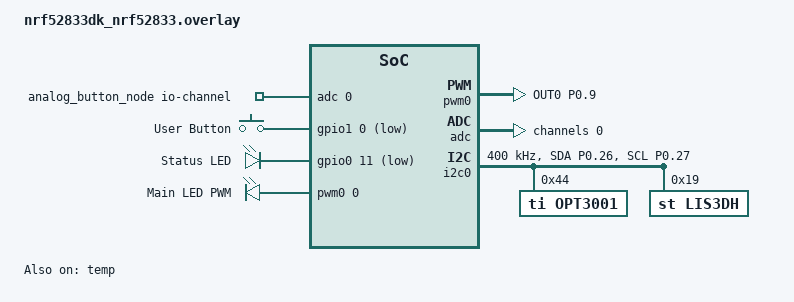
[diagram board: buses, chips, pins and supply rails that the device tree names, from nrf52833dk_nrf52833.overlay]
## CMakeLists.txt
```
cmake_minimum_required(VERSION 3.20.0)
find_package(Zephyr REQUIRED HINTS $ENV{ZEPHYR_BASE})

project(nrf_connect_prj)

# Option to enable debug features (I2C scanner and debug prints)
option(DEBUG "Enable debug features (I2C scanner and debug prints)" ON)

# Option to enable Bluetooth
option(BLUETOOTH "Enable Bluetooth" OFF)
# Option to enable BLE master mode
option(BLE_MASTER "Enable BLE master mode" OFF)

target_sources(app PRIVATE 
    src/main.c
    src/sensor_data_collector.c
    src/button.c
    src/light_modes.c
    src/main_state_machine.c
    src/power_management.c
    src/bluetooth.c
)

# Conditionally enable debug features
if(DEBUG)
    target_sources(app PRIVATE 
        src/i2c_scanner.c
    )
    target_compile_definitions(app PRIVATE 
        DEBUG=1
    )
endif()

# Conditionally enable BLE master mode
if(BLE_MASTER)
    target_compile_definitions(app PRIVATE 
        BLE_MASTER=1
    )
endif()

target_include_directories(app PRIVATE
    inc/
)

target_link_libraries(app PRIVATE
    -lm
)

target_compile_options(app PRIVATE
    -Wall
    -Wextra
    -Werror
)
```

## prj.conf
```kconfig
# Enable device power management and system poweroff
CONFIG_PM_DEVICE=y
CONFIG_POWEROFF=y

# Enable logging
CONFIG_LOG=y
CONFIG_LOG_DEFAULT_LEVEL=3

# Enalble POSIX API for read-write locks
CONFIG_POSIX_API=y

# Enable console and RTT output
CONFIG_CONSOLE=y
CONFIG_RTT_CONSOLE=y
CONFIG_USE_SEGGER_RTT=y

# Enable GPIO
CONFIG_GPIO=y

# Enable ADC
CONFIG_ADC=y
CONFIG_ADC_NRFX_SAADC=y

# Enable PWM
CONFIG_PWM=y

# Enable work queue for button processing
CONFIG_SYSTEM_WORKQUEUE_STACK_SIZE=2048

# Enable I2C
CONFIG_I2C=y

# Enable sensors drivers
CONFIG_SENSOR=y
CONFIG_TEMP_NRF5=y
CONFIG_OPT3001=y

# Enable clock control (required for temperature sensor)
CONFIG_CLOCK_CONTROL=y
CONFIG_CLOCK_CONTROL_NRF=y
CONFIG_CLOCK_CONTROL_NRF_K32SRC_RC=y

# Enable Bluetooth Low Energy
# CONFIG_BT=y
# CONFIG_BT_PERIPHERAL=y
# CONFIG_BT_CENTRAL=y
# CONFIG_BT_GATT_CLIENT=y
# CONFIG_BT_MAX_CONN=1
# CONFIG_BT_MAX_PAIRED=1

# Enable BLE scanning (for master mode)
# CONFIG_BT_SCAN=y
# CONFIG_BT_SCAN_FILTER_ENABLE=y
# CONFIG_BT_SCAN_UUID_CNT=1
```

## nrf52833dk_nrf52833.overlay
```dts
// To get started, press Ctrl+Space to bring up the completion menu and view the available nodes.

// You can also use the buttons in the sidebar to perform actions on nodes.
// Actions currently available include:

// * Enabling / disabling the node
// * Adding the bus to a bus
// * Removing the node
// * Connecting ADC channels

// For more help, browse the DeviceTree documentation at https://docs.zephyrproject.org/latest/guides/dts/index.html
// You can also visit the nRF DeviceTree extension documentation at https://docs.nordicsemi.com/bundle/nrf-connect-vscode/page/guides/ncs_configure_app.html#devicetree-support-in-the-extension

&uicr {
	nfct-pins-as-gpios;
};

/* Disable base board LEDs since we're using custom hardware */
&led0 {
	status = "disabled";
};

&led1 {
	status = "disabled";
};

&led2 {
	status = "disabled";
};

&led3 {
	status = "disabled";
};

/ {
	aliases {
		led0 = &led0_child;
		main-led0 = &main_led0;
		analog-button = &analog_button_node;
		sw0 = &button0;
	};

	analog_button_node: zephyr,user {
		io-channels = <&adc 0>;
	};

	/*
	// Fake button after solder jumper fix for SIO_38 (P1.06)
	//BUTTON on SIO_38 (P1.06) - Active low with pullup 
	buttons {
		compatible = "gpio-keys";
		button0: button_0 {
			gpios = <&gpio1 6 GPIO_ACTIVE_LOW>;
			label = "User Button";
		};
	};
	*/


	// BUTTON on SIO_32 (P1.00) - Active low with pullup 
	buttons {
		compatible = "gpio-keys";
		button0: button_0 {
			gpios = <&gpio1 0 GPIO_ACTIVE_LOW>;
			label = "User Button";
		};
	};
 	
	
	/* STATUS_LED on P0.11 (pin 11) - Active low */
	led0_node: led0 {
		compatible = "gpio-leds";
		led0_child: led_0 {
			gpios = <&gpio0 11 GPIO_ACTIVE_LOW>;
			label = "Status LED";
		};
	};

	/* MAIN_LED on P0.09 (pin 9) - PWM controlled */
	pwmleds {
		compatible = "pwm-leds";
		main_led0: main_led_0 {
			pwms = <&pwm0 0 PWM_USEC(1000) PWM_POLARITY_NORMAL>;
			label = "Main LED PWM";
		};
	};
};
&clock {
	status = "okay";
};

/* Configure PWM0 for Main LED on P0.09 */
&pwm0 {
	status = "okay";
	pinctrl-0 = <&pwm0_default>;
	pinctrl-1 = <&pwm0_sleep>;
	pinctrl-names = "default", "sleep";
};

&pinctrl {
	pwm0_default: pwm0_default {
		group1 {
			psels = <NRF_PSEL(PWM_OUT0, 0, 9)>;
			nordic,invert;
		};
	};

	pwm0_sleep: pwm0_sleep {
		group1 {
			psels = <NRF_PSEL(PWM_OUT0, 0, 9)>;
			low-power-enable;
		};
	};

	i2c0_default: i2c0_default {
		group1 {
			psels = <NRF_PSEL(TWIM_SDA, 0, 26)>,
				<NRF_PSEL(TWIM_SCL, 0, 27)>;
		};
	};

	i2c0_sleep: i2c0_sleep {
		group1 {
			psels = <NRF_PSEL(TWIM_SDA, 0, 26)>,
				<NRF_PSEL(TWIM_SCL, 0, 27)>;
			low-power-enable;
		};
	};
};

// Configure internal temperature sensor
&temp {
	status = "okay";
};

// Configure ADC for analog button on SIO_29 (P0.29/AIN5)
&adc {
	#address-cells = <1>;
	#size-cells = <0>;
	status = "okay";
	channel@0 {
		reg = <0>;
		zephyr,gain = "ADC_GAIN_1_6";
		zephyr,reference = "ADC_REF_INTERNAL";
		zephyr,acquisition-time = <ADC_ACQ_TIME_DEFAULT>;
		zephyr,input-positive = <NRF_SAADC_AIN5>; /* P0.29/AIN5 for SIO_29 */
		zephyr,resolution = <12>;
	};
};

// Configure I2C0 for sensors (SDA: P0.26, SCL: P0.27)
&i2c0 {
	status = "okay";
	pinctrl-0 = <&i2c0_default>;
	pinctrl-1 = <&i2c0_sleep>;
	pinctrl-names = "default", "sleep";
	clock-frequency = <400000>;

	opt3001: opt3001@44 {
		compatible = "ti,opt3001";
		reg = <0x44>;
		label = "OPT3001";
	};

	lis3dh: lis3dh@19 {
		compatible = "st,lis3dh", "st,lis2dh";
		reg = <0x19>;
		label = "LIS3DH";
		status = "okay";
		/* Note: LIS3DH uses LIS2DH driver, SA0 pin connected to VDD gives address 0x19 */
	};
};
```

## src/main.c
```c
/*
 * Copyright (c) 2025 Matthias Dippold
 *
 * This program is free software: you can redistribute it and/or modify
 * it under the terms of the GNU General Public License as published by
 * the Free Software Foundation, either version 3 of the License, or
 * (at your option) any later version.
 *
 * This program is distributed in the hope that it will be useful,
 * but WITHOUT ANY WARRANTY; without even the implied warranty of
 * MERCHANTABILITY or FITNESS FOR A PARTICULAR PURPOSE.  See the
 * GNU General Public License for more details.
 *
 * You should have received a copy of the GNU General Public License
 * along with this program.  If not, see <https://www.gnu.org/licenses/>.
 *
 * NON-COMMERCIAL USE CLAUSE:
 * Permission is granted to use, copy, modify, and distribute this software
 * and its derivatives for NON-COMMERCIAL purposes only. Commercial use of
 * this software, in whole or in part, is strictly prohibited without
 * explicit written permission from the copyright holder.
 */

#include <zephyr/kernel.h>
#include <zephyr/drivers/gpio.h>
#include <zephyr/devicetree.h>
#include <zephyr/pm/device.h>
#include <zephyr/sys/poweroff.h>

#include "utils.h"
#include "button.h"
#include "main_state_machine.h"
#include "sensor_data_collector.h"
#include "power_management.h"
#ifdef BLUETOOTH
#include "bluetooth.h"
#endif /* BLUETOOTH */
#ifdef DEBUG
#include "i2c_scanner.h"
#endif

/* Global sensor buffer and environmental state */
sensor_buffer_t g_sensor_buffer;
environmental_state_t g_env_state;

static void button_event_handler(enum button_press_type press_type)
{
    ARG_UNUSED(press_type);
    
    /* Advance state machine on button press */
    main_state_machine_on_button_press();
    enum system_state new_state = main_state_machine_get_state();

#ifdef BLUETOOTH
#ifdef BLE_MASTER
    /* In master mode, also send button press to slave */
    bluetooth_master_send_button_press();
#endif /* BLE_MASTER */
#endif /* BLUETOOTH */

    /* If we transitioned to LED_OFF, enter sleep mode */
    if (new_state == LED_OFF) {
        debug_printk("Transitioning to LED_OFF - entering sleep mode\n");
        /* Give a short delay for user feedback (status LED off) */
        k_msleep(100);
        power_management_enter_sleep();
    }
}

int main(void)
{
    int ret;
    
    debug_printk("System starting...\n");
    
    /* Initialize global sensor buffer */
    pthread_rwlock_init(&g_sensor_buffer.lock, NULL);
    g_sensor_buffer.write_index = 0;
    
    /* Initialize environmental state to safe defaults */
    g_env_state.is_braking = false;
    g_env_state.ambient_dark = false;
    g_env_state.previous_brightness = 0;
    
    /* Initialize main state machine (LED control) */
    ret = main_state_machine_init();
    if (ret != 0) {
        /* State machine initialization failed */
        return -1;
    }
    
#ifdef BLUETOOTH
    /* Initialize Bluetooth Low Energy */
    ret = bluetooth_init();
    if (ret != 0) {
        debug_printk("BLE Init failed: %d\n", ret);
        /* Continue anyway - BLE is optional */
    } else {
        debug_printk("BLE initialized successfully\n");
    }
#endif /* BLUETOOTH */
    
    /* Initialize button GPIO (but don't enable interrupts yet) */
    int err = -1;
    err = button_init(button_event_handler);
	if (err) {
		debug_printk("Button Init failed: %d\n", err);
		return err;
	}
	debug_printk("Button GPIO configured (interrupts not yet enabled)...\n");
    
#ifdef DEBUG
    /* Scan I2C bus for debugging */
    const struct device *const i2c_dev = DEVICE_DT_GET(DT_NODELABEL(i2c0));
    if (i2c_dev != NULL && device_is_ready(i2c_dev)) {
        debug_printk("Scanning I2C bus during initialization...\n");
        scan_i2c_bus(i2c_dev);
    } else {
        debug_printk("I2C bus not available for scanning\n");
    }
#endif
    
    /* Enable button interrupts AFTER slow initialization tasks
     * This prevents spurious button events during I2C scanning and other init */
    err = button_enable_interrupts();
    if (err) {
        debug_printk("Button interrupt enable failed: %d\n", err);
        return err;
    }
    debug_printk("Button interrupts enabled. Ready for events...\n");
    
    /* Main loop (only reached if NOT in LED_OFF state) */
    while (1) {
        /* Sleep to save power - timers and interrupts will wake the CPU */
        k_msleep(1000);
    }

    return 0;
}
```

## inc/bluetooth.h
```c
/*
 * Copyright (c) 2025 Matthias Dippold
 *
 * This program is free software: you can redistribute it and/or modify
 * it under the terms of the GNU General Public License as published by
 * the Free Software Foundation, either version 3 of the License, or
 * (at your option) any later version.
 *
 * This program is distributed in the hope that it will be useful,
 * but WITHOUT ANY WARRANTY; without even the implied warranty of
 * MERCHANTABILITY or FITNESS FOR A PARTICULAR PURPOSE.  See the
 * GNU General Public License for more details.
 *
 * You should have received a copy of the GNU General Public License
 * along with this program.  If not, see <https://www.gnu.org/licenses/>.
 *
 * NON-COMMERCIAL USE CLAUSE:
 * Permission is granted to use, copy, modify, and distribute this software
 * and its derivatives for NON-COMMERCIAL purposes only. Commercial use of
 * this software, in whole or in part, is strictly prohibited without
 * explicit written permission from the copyright holder.
 */

#ifndef BLUETOOTH_H
#define BLUETOOTH_H

/* Custom 128-bit UUID for Button Service */
#define BT_UUID_BUTTON_SERVICE_VAL \
    BT_UUID_128_ENCODE(0x12345678, 0x1234, 0x5678, 0x1234, 0x56789abcdef0)

/**
 * @brief Initialize Bluetooth Low Energy stack
 * 
 * Initializes BLE in either master (central) or slave (peripheral) mode
 * based on BLE_MASTER preprocessor definition.
 * 
 * @return 0 on success, negative error code on failure
 */
int bluetooth_init(void);

#ifdef BLE_MASTER
/**
 * @brief Send button press to slave device (Master mode only)
 * 
 * Sends a button press command to the connected slave.
 * 
 * @return 0 on success, negative error code on failure
 */
int bluetooth_master_send_button_press(void);
#endif /* BLE_MASTER */

#endif /* BLUETOOTH_H */
```

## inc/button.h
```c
/*
 * Copyright (c) 2025 Matthias Dippold
 *
 * This program is free software: you can redistribute it and/or modify
 * it under the terms of the GNU General Public License as published by
 * the Free Software Foundation, either version 3 of the License, or
 * (at your option) any later version.
 *
 * This program is distributed in the hope that it will be useful,
 * but WITHOUT ANY WARRANTY; without even the implied warranty of
 * MERCHANTABILITY or FITNESS FOR A PARTICULAR PURPOSE.  See the
 * GNU General Public License for more details.
 *
 * You should have received a copy of the GNU General Public License
 * along with this program.  If not, see <https://www.gnu.org/licenses/>.
 *
 * NON-COMMERCIAL USE CLAUSE:
 * Permission is granted to use, copy, modify, and distribute this software
 * and its derivatives for NON-COMMERCIAL purposes only. Commercial use of
 * this software, in whole or in part, is strictly prohibited without
 * explicit written permission from the copyright holder.
 */

 #ifndef _BUTTON_H_
 #define _BUTTON_H_
 
 typedef void (*button_event_handler_t)(void);
 
 int button_init(button_event_handler_t handler);
 int button_enable_interrupts(void);
 int button_configure_wakeup(void);
 
 #endif /* _BUTTON_H_ */
```

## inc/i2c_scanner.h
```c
#ifndef I2C_SCANNER_H
#define I2C_SCANNER_H

#include <zephyr/device.h>

/**
 * @brief Scan I2C bus for devices
 * 
 * Scans the I2C bus and reports all found devices.
 * Also specifically checks for known devices (OPT3001, LIS3DH).
 * 
 * @param i2c_dev I2C device pointer (e.g., from DT_NODELABEL(i2c0))
 */
void scan_i2c_bus(const struct device *i2c_dev);

#endif /* I2C_SCANNER_H */
```

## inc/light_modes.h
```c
/*
 * Copyright (c) 2025 Matthias Dippold
 *
 * This program is free software: you can redistribute it and/or modify
 * it under the terms of the GNU General Public License as published by
 * the Free Software Foundation, either version 3 of the License, or
 * (at your option) any later version.
 *
 * This program is distributed in the hope that it will be useful,
 * but WITHOUT ANY WARRANTY; without even the implied warranty of
 * MERCHANTABILITY or FITNESS FOR A PARTICULAR PURPOSE.  See the
 * GNU General Public License for more details.
 *
 * You should have received a copy of the GNU General Public License
 * along with this program.  If not, see <https://www.gnu.org/licenses/>.
 *
 * NON-COMMERCIAL USE CLAUSE:
 * Permission is granted to use, copy, modify, and distribute this software
 * and its derivatives for NON-COMMERCIAL purposes only. Commercial use of
 * this software, in whole or in part, is strictly prohibited without
 * explicit written permission from the copyright holder.
 */

#ifndef LIGHT_MODES_H
#define LIGHT_MODES_H

#include <stdint.h>
#include <stdbool.h>
#include <zephyr/kernel.h>

/**
 * @brief LED state machine states
 */
enum system_state {
    LED_OFF = 0,     /* 0% duty cycle */
    LED_50_PERCENT,  /* 50% duty cycle */
    LED_50_80_FLASH, /* High visibility mode: 50% with periodic 80% flashes */
    LED_SMART_MODE   /* Smart mode: adaptive brightness based on braking and ambient light */
};

/** @brief Timer expiry callback for the flash timer */
void flash_timer_expiry(struct k_timer *timer);

/** @brief Timer expiry callback for the blink timer */
void blink_timer_expiry(struct k_timer *timer);

/** @brief Timer expiry callback for the status LED timer */
void status_led_timer_expiry(struct k_timer *timer);

/**
 * @brief Initialize PWM LED hardware
 * 
 * Configures PWM device and sets LED to off state.
 * 
 * @return 0 on success, negative error code on failure
 */
int flash_timers_init(void);

/**
 * @brief Initialize Status LED GPIO
 * 
 * Initializes and starts the timer for the STATUS LED.
 * 
 * @return 0 on success, negative error code on failure
 */
int status_led_init(void);

/**
 * @brief Stop any active blinking mode
 * Sets LED brightness to 0% (off).
 */
void light_modes_stop_blinking(void);

/**
 * @brief Set LED brightness to 50%
 * Stops any active blinking mode.
 */
void light_modes_set_50_percent(void);

/**
 * @brief Set LED to high visibility blinking mode
 * 
 * LED runs at 50% duty cycle normally, and flashes to 80% for 100ms every second.
 */
void light_modes_set_100_percent(void);

/**
 * @brief Initialize SMART_MODE
 * 
 * Sets LED to initial state for SMART_MODE operation.
 * Actual brightness is controlled by environmental conditions.
 */
void light_modes_set_smart_mode(void);

/**
 * @brief Update PWM in SMART_MODE based on environmental state
 * 
 * Should be called when environmental conditions change (braking, ambient light).
 * Reads global environmental state and adjusts PWM accordingly.
 */
void light_modes_update_smart_pwm(void);

/**
 * @brief Get current PWM pulse width
 * 
 * @return Current PWM pulse width in microseconds
 */
uint32_t light_modes_get_current_pwm(void);

/**
 * @brief Start the status LED timer
 * 
 * Starts the periodic timer that blinks the status LED.
 */
void light_modes_start_status_led(void);

/**
 * @brief Stop the status LED timer
 * 
 * Stops the status LED timer and turns off the LED.
 */
void light_modes_stop_status_led(void);

#endif /* LIGHT_MODES_H */
```

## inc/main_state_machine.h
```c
/*
 * Copyright (c) 2025 Matthias Dippold
 *
 * This program is free software: you can redistribute it and/or modify
 * it under the terms of the GNU General Public License as published by
 * the Free Software Foundation, either version 3 of the License, or
 * (at your option) any later version.
 *
 * This program is distributed in the hope that it will be useful,
 * but WITHOUT ANY WARRANTY; without even the implied warranty of
 * MERCHANTABILITY or FITNESS FOR A PARTICULAR PURPOSE.  See the
 * GNU General Public License for more details.
 *
 * You should have received a copy of the GNU General Public License
 * along with this program.  If not, see <https://www.gnu.org/licenses/>.
 *
 * NON-COMMERCIAL USE CLAUSE:
 * Permission is granted to use, copy, modify, and distribute this software
 * and its derivatives for NON-COMMERCIAL purposes only. Commercial use of
 * this software, in whole or in part, is strictly prohibited without
 * explicit written permission from the copyright holder.
 */

#ifndef MAIN_STATE_MACHINE_H
#define MAIN_STATE_MACHINE_H

#include "light_modes.h"

/**
 * @brief Initialize the main state machine
 * 
 * Sets up the state machine and connects button and LED control.
 * 
 * @return 0 on success, negative error code on failure
 */
int main_state_machine_init(void);

/**
 * @brief Handle button press event
 * 
 * Called by button module when a button press is detected.
 * This function cycles through LED brightness states.
 */
void main_state_machine_on_button_press(void);

/**
 * @brief Automatically turn off LED
 * 
 * Called by stationary monitor when device has been stationary for too long.
 * Only acts if current state is SMART_MODE.
 * 
 */
void main_state_machine_auto_off(void);

/**
 * @brief Get current LED state
 * 
 * @return Current LED brightness state
 */
enum system_state main_state_machine_get_state(void);

/**
 * @brief Set LED state directly (for external control, e.g., BLE)
 * 
 * Allows external modules to directly set the LED state.
 * This bypasses the normal button press cycle.
 * 
 * @param new_state The state to transition to
 * @return 0 on success, negative error code on failure
 */
int main_state_machine_set_state(enum system_state new_state);

/* Global LED state */
extern enum system_state g_system_state;

#endif /* MAIN_STATE_MACHINE_H */
```

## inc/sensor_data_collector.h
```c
/*
 * Copyright (c) 2025 Matthias Dippold
 *
 * This program is free software: you can redistribute it and/or modify
 * it under the terms of the GNU General Public License as published by
 * the Free Software Foundation, either version 3 of the License, or
 * (at your option) any later version.
 *
 * This program is distributed in the hope that it will be useful,
 * but WITHOUT ANY WARRANTY; without even the implied warranty of
 * MERCHANTABILITY or FITNESS FOR A PARTICULAR PURPOSE.  See the
 * GNU General Public License for more details.
 *
 * You should have received a copy of the GNU General Public License
 * along with this program.  If not, see <https://www.gnu.org/licenses/>.
 *
 * NON-COMMERCIAL USE CLAUSE:
 * Permission is granted to use, copy, modify, and distribute this software
 * and its derivatives for NON-COMMERCIAL purposes only. Commercial use of
 * this software, in whole or in part, is strictly prohibited without
 * explicit written permission from the copyright holder.
 */

#ifndef SENSOR_DATA_COLLECTOR_H
#define SENSOR_DATA_COLLECTOR_H

#include <zephyr/kernel.h>
#include <zephyr/drivers/sensor.h>
#include <stdbool.h>
#include <pthread.h>

/* Sensor buffer size: 360 samples = 3 minutes at 500ms sampling rate */
#define SENSOR_BUFFER_SIZE 360

typedef struct {
    struct sensor_value temp; // internal nRF52833 temperature
    struct sensor_value light; // OPT3001 ambient light intensity
    struct sensor_value accel_x; // LIS3DH accelerometer X-axis
    struct sensor_value accel_y; // LIS3DH accelerometer Y-axis
    struct sensor_value accel_z; // LIS3DH accelerometer Z-axis
} sensor_readings_t;

/**
 * @brief Circular buffer for sensor history
 * 
 * Stores 360 samples (3 minutes at 500ms intervals) of all sensor data.
 * Protected by rwlock for thread-safe access.
 */
typedef struct {
    struct sensor_value temp[SENSOR_BUFFER_SIZE];
    struct sensor_value light[SENSOR_BUFFER_SIZE];
    struct sensor_value accel_x[SENSOR_BUFFER_SIZE];
    struct sensor_value accel_y[SENSOR_BUFFER_SIZE];
    struct sensor_value accel_z[SENSOR_BUFFER_SIZE];
    uint16_t write_index;  // Current write position in circular buffer
    pthread_rwlock_t lock;  // POSIX read-write lock for thread safety
} sensor_buffer_t;

/**
 * @brief Environmental state for SMART_MODE
 * 
 * Tracks current environmental conditions that affect LED behavior.
 */
typedef struct {
    bool is_braking;  // True when braking detected (z-accel < -2.0 m/s²)
    bool ambient_dark;  // True when ambient light < 30 lux
    uint32_t previous_brightness;  // Previous PWM pulse width in microseconds
} environmental_state_t;

/* Global sensor buffer and environmental state */
extern sensor_buffer_t g_sensor_buffer;
extern environmental_state_t g_env_state;

/* Thread control functions */
void sensor_threads_start(void);
void sensor_threads_stop(void);

#endif /* SENSOR_DATA_COLLECTOR_H */
```

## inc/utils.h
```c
/*
 * Copyright (c) 2025 Matthias Dippold
 *
 * This program is free software: you can redistribute it and/or modify
 * it under the terms of the GNU General Public License as published by
 * the Free Software Foundation, either version 3 of the License, or
 * (at your option) any later version.
 *
 * This program is distributed in the hope that it will be useful,
 * but WITHOUT ANY WARRANTY; without even the implied warranty of
 * MERCHANTABILITY or FITNESS FOR A PARTICULAR PURPOSE.  See the
 * GNU General Public License for more details.
 *
 * You should have received a copy of the GNU General Public License
 * along with this program.  If not, see <https://www.gnu.org/licenses/>.
 *
 * NON-COMMERCIAL USE CLAUSE:
 * Permission is granted to use, copy, modify, and distribute this software
 * and its derivatives for NON-COMMERCIAL purposes only. Commercial use of
 * this software, in whole or in part, is strictly prohibited without
 * explicit written permission from the copyright holder.
 */

#ifndef UTILS_H
#define UTILS_H

#include <zephyr/kernel.h>

#ifdef DEBUG
#define debug_printk(...) printk(__VA_ARGS__)
#else
#define debug_printk(...) ((void)0)
#endif

#endif /* UTILS_H */
```

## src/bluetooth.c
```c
/*
 * Copyright (c) 2025 Matthias Dippold
 *
 * This program is free software: you can redistribute it and/or modify
 * it under the terms of the GNU General Public License as published by
 * the Free Software Foundation, either version 3 of the License, or
 * (at your option) any later version.
 *
 * This program is distributed in the hope that it will be useful,
 * but WITHOUT ANY WARRANTY; without even the implied warranty of
 * MERCHANTABILITY or FITNESS FOR A PARTICULAR PURPOSE.  See the
 * GNU General Public License for more details.
 *
 * You should have received a copy of the GNU General Public License
 * along with this program.  If not, see <https://www.gnu.org/licenses/>.
 *
 * NON-COMMERCIAL USE CLAUSE:
 * Permission is granted to use, copy, modify, and distribute this software
 * and its derivatives for NON-COMMERCIAL purposes only. Commercial use of
 * this software, in whole or in part, is strictly prohibited without
 * explicit written permission from the copyright holder.
 */

#include <zephyr/kernel.h>
#include <zephyr/bluetooth/bluetooth.h>
#include <zephyr/bluetooth/gatt.h>
#include <zephyr/bluetooth/conn.h>
#include <zephyr/bluetooth/uuid.h>
#include <zephyr/sys/util.h>
#include <string.h>

#include "bluetooth.h"
#include "main_state_machine.h"
#include "utils.h"

#ifndef BLE_MASTER
/* ========== SLAVE MODE IMPLEMENTATION ========== */

/* UUID definitions for slave mode */
static struct bt_uuid_128 button_service_uuid = BT_UUID_INIT_128(BT_UUID_BUTTON_SERVICE_VAL);
static struct bt_uuid_128 button_press_uuid = BT_UUID_INIT_128(
    BT_UUID_128_ENCODE(0x12345678, 0x1234, 0x5678, 0x1234, 0x56789abcdef1));

/* Button press characteristic value */
static uint8_t button_press_value = 0;

/**
 * @brief Write callback for button press characteristic
 */
static ssize_t write_button_press(struct bt_conn *conn, const struct bt_gatt_attr *attr,
                                   const void *buf, uint16_t len, uint16_t offset, uint8_t flags)
{
    ARG_UNUSED(conn);
    ARG_UNUSED(attr);
    ARG_UNUSED(flags);
    
    if (offset + len > sizeof(button_press_value)) {
        return BT_GATT_ERR(BT_ATT_ERR_INVALID_OFFSET);
    }
    
    if (len != sizeof(button_press_value)) {
        return BT_GATT_ERR(BT_ATT_ERR_INVALID_ATTRIBUTE_LEN);
    }
    
    uint8_t value = *((const uint8_t *)buf);
    
    if (value == 1) {
        /* Trigger button press - advance state machine */
        debug_printk("BLE: Button press received from master\n");
        main_state_machine_on_button_press();
    }
    
    button_press_value = value;
    
    return len;
}

/* GATT Service Definition */
BT_GATT_SERVICE_DEFINE(button_svc,
    BT_GATT_PRIMARY_SERVICE(&button_service_uuid),
    BT_GATT_CHARACTERISTIC(&button_press_uuid.uuid,
                           BT_GATT_CHRC_WRITE,
                           BT_GATT_PERM_WRITE,
                           NULL, write_button_press, &button_press_value),
);

/**
 * @brief Connection callback
 */
static void connected(struct bt_conn *conn, uint8_t err)
{
    char addr[BT_ADDR_LE_STR_LEN];
    
    bt_addr_le_to_str(bt_conn_get_dst(conn), addr, sizeof(addr));
    
    if (err) {
        debug_printk("BLE: Connection failed (err %u)\n", err);
    } else {
        debug_printk("BLE: Connected: %s\n", addr);
    }
}

/**
 * @brief Disconnection callback
 */
static void disconnected(struct bt_conn *conn, uint8_t reason)
{
    char addr[BT_ADDR_LE_STR_LEN];
    
    bt_addr_le_to_str(bt_conn_get_dst(conn), addr, sizeof(addr));
    debug_printk("BLE: Disconnected: %s (reason %u)\n", addr, reason);
}

BT_CONN_CB_DEFINE(conn_callbacks) = {
    .connected = connected,
    .disconnected = disconnected,
};

/* Advertising data with service UUID */
static const struct bt_data ad[] = {
    BT_DATA_BYTES(BT_DATA_FLAGS, (BT_LE_AD_GENERAL | BT_LE_AD_NO_BREDR)),
    BT_DATA_BYTES(BT_DATA_UUID128_ALL, BT_UUID_BUTTON_SERVICE_VAL),
};

/**
 * @brief Initialize BLE in slave mode
 */
int bluetooth_init(void)
{
    int err;
    
    err = bt_enable(NULL);
    if (err) {
        debug_printk("BLE: Enable failed (err %d)\n", err);
        return err;
    }
    
    debug_printk("BLE: Bluetooth initialized (slave mode)\n");
    
    /* Start advertising */
    err = bt_le_adv_start(
        BT_LE_ADV_PARAM(BT_LE_ADV_OPT_CONN,
                        BT_GAP_ADV_FAST_INT_MIN_2,
                        BT_GAP_ADV_FAST_INT_MAX_2,
                        NULL),
        ad, ARRAY_SIZE(ad), NULL, 0);
    
    if (err) {
        debug_printk("BLE: Advertising failed to start (err %d)\n", err);
        return err;
    }
    
    debug_printk("BLE: Advertising started\n");
    
    return 0;
}

#else
/* ========== MASTER MODE IMPLEMENTATION ========== */

#include <bluetooth/scan.h>

/* UUID definitions for master mode */
static struct bt_uuid_128 button_press_uuid = BT_UUID_INIT_128(
    BT_UUID_128_ENCODE(0x12345678, 0x1234, 0x5678, 0x1234, 0x56789abcdef1));

/* Connection state */
static struct bt_conn *active_conn = NULL;
static volatile bool connection_established = false;
static uint16_t button_press_handle = 0;
static bool handle_discovered = false;

/**
 * @brief Connection callback
 */
static void connected(struct bt_conn *conn, uint8_t err)
{
    char addr[BT_ADDR_LE_STR_LEN];
    
    bt_addr_le_to_str(bt_conn_get_dst(conn), addr, sizeof(addr));
    
    if (err) {
        debug_printk("BLE Master: Connection failed to %s (err %u)\n", addr, err);
        connection_established = false;
    } else {
        debug_printk("BLE Master: Connected: %s\n", addr);
        active_conn = bt_conn_ref(conn);
        connection_established = true;
        handle_discovered = false;
        button_press_handle = 0;
    }
}

/**
 * @brief Disconnection callback
 */
static void disconnected(struct bt_conn *conn, uint8_t reason)
{
    char addr[BT_ADDR_LE_STR_LEN];
    
    bt_addr_le_to_str(bt_conn_get_dst(conn), addr, sizeof(addr));
    debug_printk("BLE Master: Disconnected: %s (reason %u)\n", addr, reason);
    
    if (conn == active_conn) {
        bt_conn_unref(active_conn);
        active_conn = NULL;
    }
    
    connection_established = false;
    handle_discovered = false;
    button_press_handle = 0;
}

BT_CONN_CB_DEFINE(conn_callbacks) = {
    .connected = connected,
    .disconnected = disconnected,
};

/**
 * @brief Scan filter match callback
 */
static void scan_filter_match(struct bt_scan_device_info *device_info,
                               struct bt_scan_filter_match *filter_match, bool connectable)
{
    ARG_UNUSED(filter_match);
    
    char addr[BT_ADDR_LE_STR_LEN];
    
    bt_addr_le_to_str(device_info->recv_info->addr, addr, sizeof(addr));
    debug_printk("BLE Master: Filters matched. Address: %s connectable: %d\n", addr, connectable);
}

/**
 * @brief Scan connecting error callback
 */
static void scan_connecting_error(struct bt_scan_device_info *device_info)
{
    ARG_UNUSED(device_info);
    
    debug_printk("BLE Master: Connecting failed\n");
}

BT_SCAN_CB_INIT(scan_cb, scan_filter_match, NULL, scan_connecting_error, NULL);

/**
 * @brief GATT discovery callback
 */
static uint8_t discover_func(struct bt_conn *conn, const struct bt_gatt_attr *attr,
                              struct bt_gatt_discover_params *params)
{
    ARG_UNUSED(conn);
    
    if (!attr) {
        debug_printk("BLE Master: Discovery complete\n");
        (void)memset(params, 0, sizeof(*params));
        return BT_GATT_ITER_STOP;
    }
    
    if (params->type == BT_GATT_DISCOVER_CHARACTERISTIC) {
        const struct bt_gatt_chrc *chrc = (const struct bt_gatt_chrc *)attr->user_data;
        
        if (bt_uuid_cmp(chrc->uuid, &button_press_uuid.uuid) == 0) {
            button_press_handle = chrc->value_handle;
            handle_discovered = true;
            debug_printk("BLE Master: Found button press handle: %u\n", button_press_handle);
            (void)memset(params, 0, sizeof(*params));
            return BT_GATT_ITER_STOP;
        }
    }
    
    return BT_GATT_ITER_CONTINUE;
}

/**
 * @brief Discover button service and characteristic
 */
static int discover_button_service(void)
{
    if (handle_discovered) {
        return 0;
    }
    
    static struct bt_gatt_discover_params discover_params;
    
    handle_discovered = false;
    discover_params.uuid = &button_press_uuid.uuid;
    discover_params.func = discover_func;
    discover_params.start_handle = BT_ATT_FIRST_ATTRIBUTE_HANDLE;
    discover_params.end_handle = BT_ATT_LAST_ATTRIBUTE_HANDLE;
    discover_params.type = BT_GATT_DISCOVER_CHARACTERISTIC;
    
    int err = bt_gatt_discover(active_conn, &discover_params);
    if (err) {
        debug_printk("BLE Master: Characteristic discovery failed (err %d)\n", err);
        return err;
    }
    
    /* Wait for discovery by polling (like Nordic example) */
    uint32_t timeout = k_uptime_get_32() + 5000;
    while (!handle_discovered && k_uptime_get_32() < timeout) {
        k_yield();
    }
    
    if (!handle_discovered) {
        debug_printk("BLE Master: Characteristic discovery timeout\n");
        return -ETIMEDOUT;
    }
    
    return 0;
}

/**
 * @brief Start scanning for slave devices
 */
static void scan_start(void)
{
    int err;
    
    struct bt_le_scan_param scan_param = {
        .type = BT_LE_SCAN_TYPE_PASSIVE,
        .options = BT_LE_SCAN_OPT_FILTER_DUPLICATE,
        .interval = BT_GAP_SCAN_FAST_INTERVAL,
        .window = BT_GAP_SCAN_FAST_WINDOW,
    };
    
    struct bt_le_conn_param *conn_param =
        BT_LE_CONN_PARAM(BT_GAP_INIT_CONN_INT_MIN, BT_GAP_INIT_CONN_INT_MAX, 0, 400);
    
    struct bt_scan_init_param scan_init = {
        .connect_if_match = true,
        .scan_param = &scan_param,
        .conn_param = conn_param,
    };
    
    bt_scan_init(&scan_init);
    bt_scan_cb_register(&scan_cb);
    
    err = bt_scan_filter_add(BT_SCAN_FILTER_TYPE_UUID,
                             BT_UUID_DECLARE_128(BT_UUID_BUTTON_SERVICE_VAL));
    if (err) {
        debug_printk("BLE Master: Scan filter add failed (err %d)\n", err);
        return;
    }
    
    err = bt_scan_filter_enable(BT_SCAN_UUID_FILTER, false);
    if (err) {
        debug_printk("BLE Master: Scan filter enable failed (err %d)\n", err);
        return;
    }
    
    err = bt_scan_start(BT_SCAN_TYPE_SCAN_PASSIVE);
    if (err) {
        debug_printk("BLE Master: Scan start failed (err %d)\n", err);
        return;
    }
    
    debug_printk("BLE Master: Scanning started\n");
}

/**
 * @brief Initialize BLE in master mode
 */
int bluetooth_init(void)
{
    int err;
    
    err = bt_enable(NULL);
    if (err) {
        debug_printk("BLE Master: Enable failed (err %d)\n", err);
        return err;
    }
    
    debug_printk("BLE Master: Bluetooth initialized (master mode)\n");
    
    /* Start scanning */
    scan_start();
    
    /* Wait for connection (like Nordic example) */
    while (true) {
        if (connection_established) {
            debug_printk("BLE Master: Connection established\n");
            break;
        }
        k_yield();
    }
    
    /* Discover service */
    err = discover_button_service();
    if (err) {
        debug_printk("BLE Master: Service discovery failed (err %d)\n", err);
        return err;
    }
    
    debug_printk("BLE Master: Ready to send button presses\n");
    
    return 0;
}

/**
 * @brief Send button press to slave
 */
int bluetooth_master_send_button_press(void)
{
    if (!active_conn || !handle_discovered) {
        return -ENOTCONN;
    }
    
    uint8_t value = 1;
    
    int err = bt_gatt_write_without_response(active_conn, button_press_handle, &value, sizeof(value), false);
    if (err) {
        debug_printk("BLE Master: Write failed (err %d)\n", err);
        return err;
    }
    
    debug_printk("BLE Master: Button press sent to slave\n");
    return 0;
}

#endif /* BLE_MASTER */
```

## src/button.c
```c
/*
 * Copyright (c) 2025 Matthias Dippold
 *
 * This program is free software: you can redistribute it and/or modify
 * it under the terms of the GNU General Public License as published by
 * the Free Software Foundation, either version 3 of the License, or
 * (at your option) any later version.
 *
 * This program is distributed in the hope that it will be useful,
 * but WITHOUT ANY WARRANTY; without even the implied warranty of
 * MERCHANTABILITY or FITNESS FOR A PARTICULAR PURPOSE.  See the
 * GNU General Public License for more details.
 *
 * You should have received a copy of the GNU General Public License
 * along with this program.  If not, see <https://www.gnu.org/licenses/>.
 *
 * NON-COMMERCIAL USE CLAUSE:
 * Permission is granted to use, copy, modify, and distribute this software
 * and its derivatives for NON-COMMERCIAL purposes only. Commercial use of
 * this software, in whole or in part, is strictly prohibited without
 * explicit written permission from the copyright holder.
 */

#include <zephyr/kernel.h>
#include <zephyr/drivers/gpio.h>
#include <zephyr/devicetree.h>

#include "button.h"
#include "utils.h"

/* GPIO Button Devicetree Specifications */
#define SW0_NODE DT_ALIAS(sw0)

static const struct gpio_dt_spec button = GPIO_DT_SPEC_GET_OR(SW0_NODE, gpios, {0});
static struct gpio_callback button_cb_data;

static button_event_handler_t user_cb;
static bool initialized = false;
static uint32_t last_event_time = 0;
static uint32_t current_time = 0;

#define DEBOUNCE_MS 200  /* Minimum time between button events to filter bounce */

/**
 * @brief GPIO interrupt callback for button press/release
 * 
 * Called when button state changes (press or release).
 * Detects the current state and triggers the user callback.
 */
static void button_pressed(const struct device *dev, struct gpio_callback *cb, uint32_t pins)
{
    ARG_UNUSED(dev);
    ARG_UNUSED(cb);
    ARG_UNUSED(pins);
    
    if (!initialized || !user_cb) {
        return;
    }
    
    current_time = k_uptime_get_32();
    /* Debounce: ignore events that occur too quickly after the last one */
    if (current_time - last_event_time < DEBOUNCE_MS) {
        debug_printk("Debouncing: ignoring event %u ms after last event\n", 
                     current_time - last_event_time);
        return;
    }
    
    /* Update last event time for debouncing */
    last_event_time = current_time;
    
    user_cb();
}

/**
 * @brief Initialize GPIO button with interrupt
 * 
 * Configures the button GPIO pin and sets up interrupt for state changes.
 * 
 * @param handler Function to call when button event is detected
 * @return 0 on success, negative error code on failure
 */
int button_init(button_event_handler_t handler)
{
    int err;

    if (!handler) {
        return -EINVAL;
    }

    user_cb = handler;

    /* Check if GPIO device is ready */
    if (!gpio_is_ready_dt(&button)) {
        debug_printk("Button GPIO device %s is not ready\n", button.port->name);
        return -EIO;
    }

    /* Configure button pin as input with pull-up (active low is set in device tree) */
    err = gpio_pin_configure_dt(&button, GPIO_INPUT | GPIO_PULL_UP);
    if (err < 0) {
        debug_printk("Error %d: failed to configure %s pin %d\n", 
                     err, button.port->name, button.pin);
        return err;
    }

    /* Mark as initialized - interrupts will be enabled later */
    initialized = true;
    
    debug_printk("GPIO button configured successfully on %s pin %d (interrupts not yet enabled)\n", 
                 button.port->name, button.pin);
    
    return 0;
}

/**
 * @brief Enable button interrupts after initialization
 * 
 * Should be called after all slow initialization tasks (e.g., I2C scanning)
 * to avoid spurious interrupts during boot/wake-up.
 * 
 * @return 0 on success, negative error code on failure
 */
int button_enable_interrupts(void)
{
    int err;
    
    if (!initialized) {
        debug_printk("Button not initialized, call button_init() first\n");
        return -EINVAL;
    }
    
    /* Check if GPIO device is ready */
    if (!gpio_is_ready_dt(&button)) {
        debug_printk("Button GPIO device %s is not ready\n", button.port->name);
        return -EIO;
    }
    
    /* Clear any pending interrupts by disabling and re-enabling */
    debug_printk("Clearing pending interrupts...\n");
    err = gpio_pin_interrupt_configure_dt(&button, GPIO_INT_DISABLE);
    if (err < 0) {
        debug_printk("Error %d: failed to disable interrupt on %s pin %d\n", 
                     err, button.port->name, button.pin);
        return err;
    }
    
    /* Small delay for hardware to settle */
    k_msleep(10);
    
    /* Re-enable interrupt on rising edge (button release for active-low) */
    err = gpio_pin_interrupt_configure_dt(&button, GPIO_INT_EDGE_RISING);
    if (err < 0) {
        debug_printk("Error %d: failed to configure interrupt on %s pin %d\n", 
                     err, button.port->name, button.pin);
        return err;
    }

    /* Initialize and add callback */
    gpio_init_callback(&button_cb_data, button_pressed, BIT(button.pin));
    gpio_add_callback(button.port, &button_cb_data);
    
    /* Initialize last event time */
    last_event_time = k_uptime_get_32();
    
    debug_printk("Button interrupts enabled successfully on %s pin %d\n", 
                 button.port->name, button.pin);
    
    return 0;
}

/**
 * @brief Configure button as wakeup source for system off mode
 * 
 * Reconfigures the button interrupt to use level-active triggering,
 * which is required to wake the system from system off (deep sleep).
 * 
 * @return 0 on success, negative error code on failure
 */
int button_configure_wakeup(void)
{
    int err;
    
    if (!initialized) {
        debug_printk("Button not initialized, cannot configure for wakeup\n");
        return -EINVAL;
    }
    
    /* Check if GPIO device is ready */
    if (!gpio_is_ready_dt(&button)) {
        debug_printk("Button GPIO device %s is not ready\n", button.port->name);
        return -EIO;
    }
    
    /* Configure interrupt as level-active to wake from system off */
    err = gpio_pin_interrupt_configure_dt(&button, GPIO_INT_LEVEL_ACTIVE);
    if (err < 0) {
        debug_printk("Error %d: failed to configure wakeup interrupt on %s pin %d\n", 
                     err, button.port->name, button.pin);
        return err;
    }
    
    debug_printk("Button configured as wakeup source (level-active interrupt)\n");
    
    return 0;
}
```

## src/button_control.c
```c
/*
 * Copyright (c) 2024
 *
 * SPDX-License-Identifier: Apache-2.0
 */

#include "button_control.h"
#include <zephyr/kernel.h>
#include <zephyr/drivers/gpio.h>
#include <zephyr/drivers/pwm.h>

/* PWM period for 10kHz = 100 microseconds */
#define PWM_PERIOD_USEC 100
/* 50% duty cycle = 50 microseconds */
#define PWM_DUTY_CYCLE_USEC 50
/* 100% duty cycle = 100 microseconds (same as period) */
#define PWM_DUTY_CYCLE_100_USEC 100

/* LED brightness states */
enum led_brightness {
    LED_OFF = 0,      /* 0% duty cycle */
    LED_50_PERCENT,  /* 50% duty cycle */
    LED_100_PERCENT  /* 100% duty cycle */
};

/* PWM device specification from devicetree */
static const struct pwm_dt_spec pwm_led = PWM_DT_SPEC_GET(MAIN_LED_PWM_NODE);
static const struct gpio_dt_spec button = GPIO_DT_SPEC_GET(BUTTON_NODE, gpios);

/* LED state - cycles through OFF -> 50% -> 100% -> OFF */
static volatile enum led_brightness led_state = LED_OFF;

/* Debounce timer */
static struct k_timer debounce_timer;

/* Last button state */
static volatile bool last_button_state = false;

/**
 * @brief Debounce timer expiry callback
 * 
 * Checks button state after debounce delay and cycles MAIN_LED brightness on press.
 * Cycles through: OFF (0%) -> 50% -> 100% -> OFF
 */
static void debounce_timer_expiry(struct k_timer *timer)
{
    /* Read current button state (active low: 0 = pressed, 1 = released) */
    int pin_state = gpio_pin_get_dt(&button);
    bool currently_pressed = (pin_state == 0);
    
    /* Cycle MAIN_LED brightness on button press (transition from released to pressed) */
    if (currently_pressed && !last_button_state) {
        switch (led_state) {
            case LED_OFF:
                /* Turn LED on with 10kHz PWM at 50% duty cycle */
                pwm_set_dt(&pwm_led, PWM_USEC(PWM_PERIOD_USEC), PWM_USEC(PWM_DUTY_CYCLE_USEC));
                led_state = LED_50_PERCENT;
                break;
            case LED_50_PERCENT:
                /* Turn LED on with 10kHz PWM at 100% duty cycle */
                pwm_set_dt(&pwm_led, PWM_USEC(PWM_PERIOD_USEC), PWM_USEC(PWM_DUTY_CYCLE_100_USEC));
                led_state = LED_100_PERCENT;
                break;
            case LED_100_PERCENT:
                /* Turn LED off by setting duty cycle to 0 */
                pwm_set_dt(&pwm_led, PWM_USEC(PWM_PERIOD_USEC), 0);
                led_state = LED_OFF;
                break;
        }
    }
    
    last_button_state = currently_pressed;
}

/**
 * @brief GPIO interrupt callback for button
 * 
 * Triggered when button state changes. Starts debounce timer.
 */
static void button_pressed_callback(const struct device *dev, struct gpio_callback *cb, uint32_t pins)
{
    /* Start debounce timer */
    k_timer_start(&debounce_timer, K_MSEC(BUTTON_DEBOUNCE_MS), K_NO_WAIT);
}

/* GPIO callback structure */
static struct gpio_callback button_cb_data;

int button_control_init(void)
{
    int ret;
    
    /* Check if PWM device is ready */
    if (!pwm_is_ready_dt(&pwm_led)) {
        return -ENODEV;
    }
    
    if (!gpio_is_ready_dt(&button)) {
        return -ENODEV;
    }
    
    /* Initialize PWM LED to off state */
    ret = pwm_set_dt(&pwm_led, PWM_USEC(PWM_PERIOD_USEC), 0);
    if (ret < 0) {
        return ret;
    }
    led_state = LED_OFF;
    
    /* Configure button as input with pullup */
    ret = gpio_pin_configure_dt(&button, GPIO_INPUT | GPIO_PULL_UP);
    if (ret < 0) {
        return ret;
    }
    
    /* Initialize debounce timer */
    k_timer_init(&debounce_timer, debounce_timer_expiry, NULL);
    
    /* Configure button interrupt on both edges */
    ret = gpio_pin_interrupt_configure_dt(&button, GPIO_INT_EDGE_BOTH);
    if (ret < 0) {
        return ret;
    }
    
    /* Initialize and add GPIO callback */
    gpio_init_callback(&button_cb_data, button_pressed_callback, BIT(button.pin));
    ret = gpio_add_callback(button.port, &button_cb_data);
    if (ret < 0) {
        return ret;
    }
    
    /* Initialize state */
    last_button_state = (gpio_pin_get_dt(&button) == 0);
    
    return 0;
}
```

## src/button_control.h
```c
/*
 * Copyright (c) 2024
 *
 * SPDX-License-Identifier: Apache-2.0
 */

#ifndef BUTTON_CONTROL_H
#define BUTTON_CONTROL_H

#include <zephyr/kernel.h>
#include <zephyr/drivers/gpio.h>
#include <zephyr/devicetree.h>

/* GPIO Devicetree Specifications */
#define STATUS_LED_NODE  DT_ALIAS(led0)
#define MAIN_LED_PWM_NODE    DT_ALIAS(pwm_led0)
#define BUTTON_NODE      DT_ALIAS(sw0)

/* Button debounce time in milliseconds */
#define BUTTON_DEBOUNCE_MS       50

/**
 * @brief Initialize the button control module
 * 
 * Configures GPIO pins, sets up interrupts, and initializes debounce timer.
 * Button press will toggle the main LED.
 * 
 * @return 0 on success, negative error code on failure
 */
int button_control_init(void);

#endif /* BUTTON_CONTROL_H */
```

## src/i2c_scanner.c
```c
#include <zephyr/kernel.h>
#include <zephyr/device.h>
#include <zephyr/drivers/i2c.h>

#include "i2c_scanner.h"

static void read_lis3dh_who_am_i(const struct device *i2c_dev, uint8_t addr)
{
    uint8_t who_am_i_reg = 0x0F; /* WHO_AM_I register address */
    uint8_t who_am_i_value = 0;
    int ret;
    
    /* Read WHO_AM_I register (0x0F) from LIS3DH */
    ret = i2c_write_read(i2c_dev, addr, &who_am_i_reg, 1, &who_am_i_value, 1);
    if (ret == 0) {
        printk("  WHO_AM_I register at 0x%02X: 0x%02X (expected: 0x33 for LIS3DH)\n", 
               addr, who_am_i_value);
        if (who_am_i_value == 0x33) {
            printk("  ✓ LIS3DH detected correctly!\n");
        } else {
            printk("  ⚠ Unexpected WHO_AM_I value (might be LIS2DH or other variant)\n");
        }
    } else {
        printk("  Failed to read WHO_AM_I at 0x%02X (error: %d)\n", addr, ret);
    }
}

void scan_i2c_bus(const struct device *i2c_dev)
{
    uint8_t dummy = 0;
    int ret;
    int found = 0;

    printk("Scanning I2C bus...\n");
    
    /* Scan I2C addresses 0x08 to 0x77 (valid I2C address range) */
    /* Use write with dummy data to probe for devices */
    for (uint8_t addr = 0x08; addr <= 0x77; addr++) {
        /* Try to write 0 bytes - if device ACKs, it exists */
        ret = i2c_write(i2c_dev, &dummy, 0, addr);
        if (ret == 0) {
            printk("  Found device at address 0x%02X\n", addr);
            found++;
        }
        k_msleep(1); /* Small delay between probes */
    }
    
    if (found == 0) {
        printk("  No I2C devices found on bus\n");
    } else {
        printk("  Found %d device(s)\n", found);
    }
    
    /* Specifically check for known devices */
    printk("Checking specifically for known devices...\n");
    
    /* OPT3001 at 0x44 (ADDR to GND) */
    ret = i2c_write(i2c_dev, &dummy, 0, 0x44);
    if (ret == 0) {
        printk("  Device responds at 0x44 (OPT3001 with ADDR=GND)\n");
    } else {
        printk("  No response at 0x44 (error: %d)\n", ret);
    }
    
    /* LIS3DH at 0x18 (SA0 to GND) */
    ret = i2c_write(i2c_dev, &dummy, 0, 0x18);
    if (ret == 0) {
        printk("  Device responds at 0x18 (LIS3DH with SA0=GND)\n");
        read_lis3dh_who_am_i(i2c_dev, 0x18);
    } else {
        printk("  No response at 0x18 (error: %d)\n", ret);
    }
    
    /* LIS3DH at 0x19 (SA0 to VDD) */
    ret = i2c_write(i2c_dev, &dummy, 0, 0x19);
    if (ret == 0) {
        printk("  Device responds at 0x19 (LIS3DH with SA0=VDD)\n");
        read_lis3dh_who_am_i(i2c_dev, 0x19);
    } else {
        printk("  No response at 0x19 (error: %d)\n", ret);
    }
}
```
